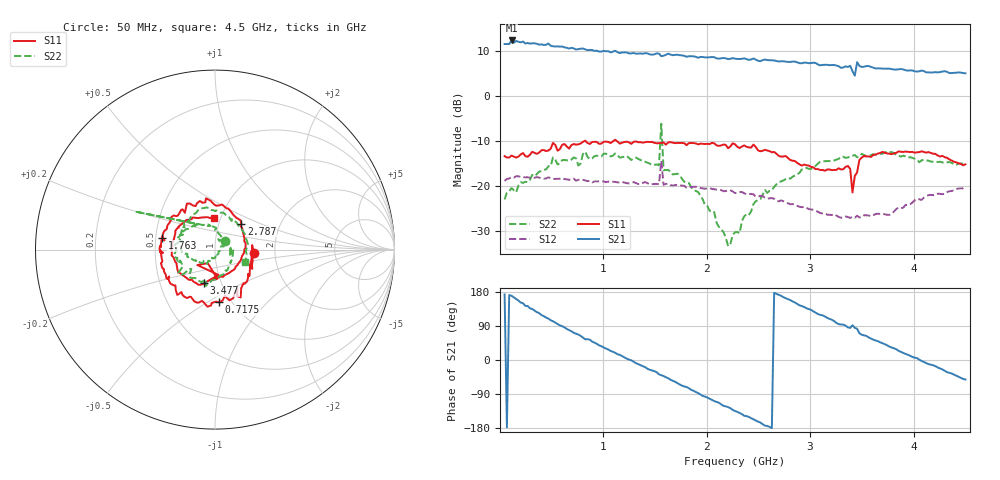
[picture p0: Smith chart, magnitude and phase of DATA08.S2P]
! Network Analyzer HP8722ES.07.74: Oct 30, 2002 Serial No. US39175660
! Hewlett-Packard
! 30 May 2012  17:36:17
! Frequency  S11  S21  S12  S22
# HZ  S  DB R  50
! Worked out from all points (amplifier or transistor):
!   201 points, 50 MHz to 4.5 GHz, reference 50 ohm
!   highest |S21| = 12.3 dB at 116.8 MHz (marker M1)
!   |S21| within 3 dB of that: start of sweep to 1.443 GHz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
!   unconditionally stable (mu >= 1): start of sweep to end of sweep
!   at 784.2 MHz: K = 1.34, MAG = 11.0 dB, |S12| = -18.4 dB
!   at 2.275 GHz: K = 2.19, MAG = 8.7 dB, |S12| = -21.5 dB
!   at 4.5 GHz: K = 2.75, MAG = 5.3 dB, |S12| = -20.1 dB
!   S11 on the Smith chart (normalised r, x): 50 MHz: 1.55, -0.06; 717.5 MHz: 0.88, -0.56; 1.763 GHz: 0.54, +0.08; 2.787 GHz: 1.28, +0.39; 3.477 GHz: 0.83, -0.32; 4.5 GHz: 0.93, +0.34
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5e7  -13.31 -4.7  11.53 173.0  -18.79 -3.0  -22.90 41.7
7.225e7  -13.61 6.8  11.54 -177.8  -18.36 6.0  -21.41 36.7
1.1675e8  -13.19 -18.3  12.33 169.5  -17.94 -3.0  -20.38 -23.8
2.5025e8  -13.29 -26.3  11.65 142.7  -18.03 -23.7  -18.96 -39.4
4.7275e8  -12.06 -52.0  11.64 109.3  -18.00 -46.8  -15.54 -88.9
7.175e8  -10.62 -85.5  10.57 71.8  -18.28 -74.1  -13.60 -131.3
8.065e8  -10.13 -94.0  10.54 59.3  -18.55 -82.4  -12.85 -142.2
1.118e9  -9.67 -129.8  10.05 18.9  -19.02 -110.3  -12.72 176.7
1.54075e9  -10.43 -170.6  9.41 -37.9  -19.53 -152.7  -15.34 124.3
1.563e9  -10.37 -179.2  8.84 -40.2  -14.36 155.3  -6.13 154.6
1.58525e9  -10.26 -178.0  8.94 -42.4  -19.64 -155.4  -16.40 115.4
1.76325e9  -10.36 167.5  9.02 -67.7  -19.84 -174.3  -18.32 86.9
2.0525e9  -10.37 143.8  8.66 -105.0  -20.55 157.9  -25.34 32.2
2.275e9  -10.67 118.7  8.29 -134.7  -21.49 135.7  -30.19 -54.3
2.56425e9  -11.90 81.3  8.10 -173.2  -22.51 108.4  -20.80 -119.4
2.78675e9  -13.71 44.7  7.58 160.6  -23.76 90.0  -18.10 -150.3
3.0315e9  -15.78 -6.3  7.41 128.4  -25.20 72.4  -15.80 -172.0
3.40975e9  -21.35 -117.7  5.50 91.7  -26.73 62.5  -13.24 148.5
3.4765e9  -14.15 -107.9  6.68 70.7  -26.87 58.0  -13.39 143.3
3.76575e9  -12.78 -158.4  6.08 35.5  -26.33 50.3  -12.41 104.0
4.07725e9  -12.24 154.8  5.65 -2.5  -22.99 32.0  -14.23 60.8
4.5e9  -15.12 92.3  5.05 -51.5  -20.05 -4.3  -14.92 -22.1
